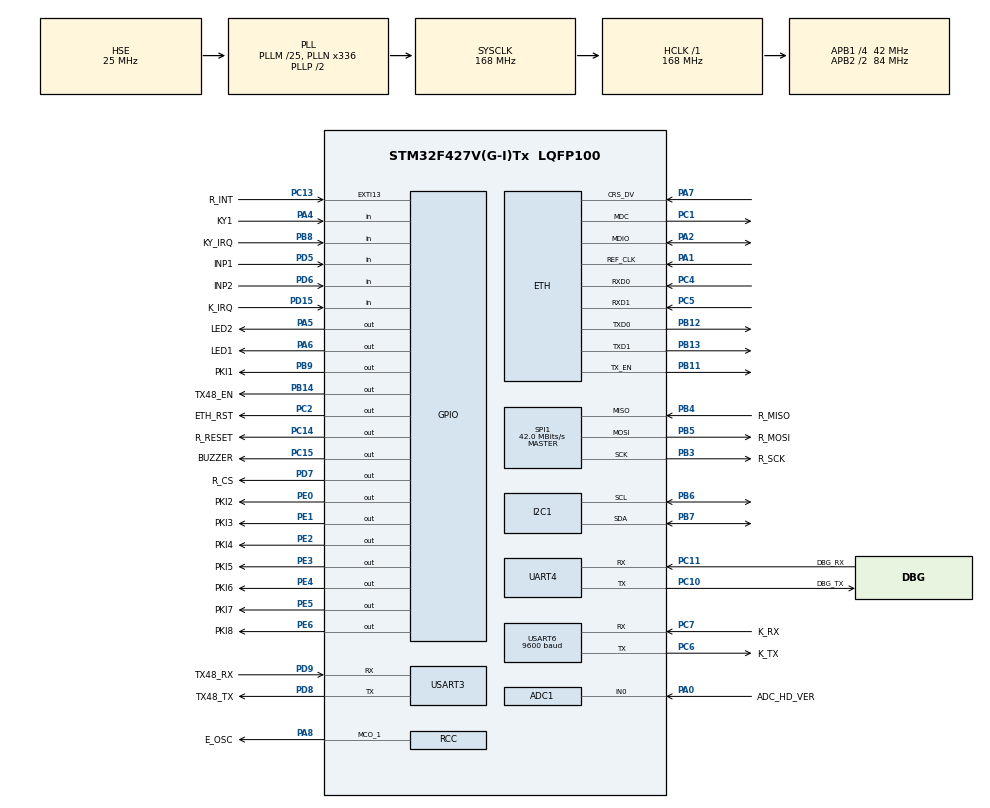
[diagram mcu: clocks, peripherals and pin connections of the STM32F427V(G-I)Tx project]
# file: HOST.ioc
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ADC1.Channel-0\#ChannelRegularConversion=ADC_CHANNEL_0
ADC1.NbrOfConversionFlag=1
ADC1.Rank-0\#ChannelRegularConversion=1
ADC1.SamplingTime-0\#ChannelRegularConversion=ADC_SAMPLETIME_3CYCLES
ADC1.master=1
ETH.MACAddr=00\:80\:E1\:00\:12\:34
ETH.MediaInterface=ETH_MEDIA_INTERFACE_RMII
ETH.PhyAddress=0
FREERTOS.Tasks01=defaultTask,0,128,StartDefaultTask,Default,NULL,Dynamic,NULL,NULL
FREERTOS.configTOTAL_HEAP_SIZE=49152
FREERTOS.configUSE_NEWLIB_REENTRANT=1
FREERTOS.configUSE_STATS_FORMATTING_FUNCTIONS=1
FREERTOS.configUSE_TIMERS=1
FREERTOS.configUSE_TRACE_FACILITY=1
LWIP.DEFAULT_RAW_RECVMBOX_SIZE=6
LWIP.LWIP_DNS=1
LWIP.LWIP_NETIF_STATUS_CALLBACK=1
LWIP.LWIP_RAW=1
LWIP.LWIP_SO_RCVTIMEO=1
LWIP.MEMP_NUM_TCP_PCB=5
LWIP.MEM_SIZE=8192
LWIP.Version=v2.1.2_Cube
Mcu.Family=STM32F4
Mcu.Name=STM32F427V(G-I)Tx
Mcu.Package=LQFP100
NVIC.ETH_IRQn=true\:6\:0\:true\:false\:true\:false\:false\:true
NVIC.PriorityGroup=NVIC_PRIORITYGROUP_4
NVIC.TIM1_UP_TIM10_IRQn=true\:0\:0\:false\:false\:true\:false\:false\:true
NVIC.TimeBase=TIM1_UP_TIM10_IRQn
NVIC.TimeBaseIP=TIM1
PA0/WKUP.GPIO_Label=ADC_HD_VER
PA0/WKUP.Signal=ADCx_IN0
PA1.Mode=RMII
PA1.Signal=ETH_REF_CLK
PA13.Mode=Serial_Wire
PA13.Signal=SYS_JTMS-SWDIO
PA14.Mode=Serial_Wire
PA14.Signal=SYS_JTCK-SWCLK
PA2.GPIO_PuPd=GPIO_PULLUP
PA2.Mode=RMII
PA2.Signal=ETH_MDIO
PA4.GPIO_Label=KY1
PA4.Signal=GPIO_Input
PA5.GPIO_Label=LED2
PA5.PinState=GPIO_PIN_SET
PA5.Signal=GPIO_Output
PA6.GPIO_Label=LED1
PA6.PinState=GPIO_PIN_SET
PA6.Signal=GPIO_Output
PA7.Mode=RMII
PA7.Signal=ETH_CRS_DV
PA8.GPIO_Label=E_OSC
PA8.Mode=Clock-out-1
PA8.Signal=RCC_MCO_1
PB11.Mode=RMII
PB11.Signal=ETH_TX_EN
PB12.Mode=RMII
PB12.Signal=ETH_TXD0
PB13.Mode=RMII
PB13.Signal=ETH_TXD1
PB14.GPIO_Label=TX48_EN
PB14.Signal=GPIO_Output
PB3.GPIO_Label=R_SCK
PB3.Mode=Full_Duplex_Master
PB3.Signal=SPI1_SCK
PB4.GPIO_Label=R_MISO
PB4.Mode=Full_Duplex_Master
PB4.Signal=SPI1_MISO
PB5.GPIO_Label=R_MOSI
PB5.Mode=Full_Duplex_Master
PB5.Signal=SPI1_MOSI
PB6.Mode=I2C
PB6.Signal=I2C1_SCL
PB7.Mode=I2C
PB7.Signal=I2C1_SDA
PB8.GPIO_Label=KY_IRQ
PB8.Signal=GPIO_Input
PB9.GPIO_Label=PKI1
PB9.Signal=GPIO_Output
PC1.Mode=RMII
PC1.Signal=ETH_MDC
PC10.GPIO_Label=DBG_TX
PC10.Mode=Asynchronous
PC10.Signal=UART4_TX
PC11.GPIO_Label=DBG_RX
PC11.Mode=Asynchronous
PC11.Signal=UART4_RX
PC13.GPIO_Label=R_INT
PC13.GPIO_PuPd=GPIO_PULLUP
PC13.Signal=GPXTI13
PC14/OSC32_IN.GPIO_Label=R_RESET
PC14/OSC32_IN.Signal=GPIO_Output
PC15/OSC32_OUT.GPIO_Label=BUZZER
PC15/OSC32_OUT.Signal=GPIO_Output
PC2.GPIO_Label=ETH_RST
PC2.Signal=GPIO_Output
PC4.Mode=RMII
PC4.Signal=ETH_RXD0
PC5.Mode=RMII
PC5.Signal=ETH_RXD1
PC6.GPIO_Label=K_TX
PC6.Mode=Asynchronous
PC6.Signal=USART6_TX
PC7.GPIO_Label=K_RX
PC7.Mode=Asynchronous
PC7.Signal=USART6_RX
PD15.GPIO_Label=K_IRQ
PD15.Signal=GPIO_Input
PD5.GPIO_Label=INP1
PD5.GPIO_PuPd=GPIO_PULLUP
PD5.Signal=GPIO_Input
PD6.GPIO_Label=INP2
PD6.GPIO_PuPd=GPIO_PULLUP
PD6.Signal=GPIO_Input
PD7.GPIO_Label=R_CS
PD7.Signal=GPIO_Output
PD8.GPIO_Label=TX48_TX
PD8.Mode=Asynchronous
PD8.Signal=USART3_TX
PD9.GPIO_Label=TX48_RX
PD9.Mode=Asynchronous
PD9.Signal=USART3_RX
PE0.GPIO_Label=PKI2
PE0.Signal=GPIO_Output
PE1.GPIO_Label=PKI3
PE1.Signal=GPIO_Output
PE2.GPIO_Label=PKI4
PE2.Signal=GPIO_Output
PE3.GPIO_Label=PKI5
PE3.Signal=GPIO_Output
PE4.GPIO_Label=PKI6
PE4.Signal=GPIO_Output
PE5.GPIO_Label=PKI7
PE5.Signal=GPIO_Output
PE6.GPIO_Label=PKI8
PE6.Signal=GPIO_Output
PH0/OSC_IN.Mode=HSE-External-Clock-Source
PH0/OSC_IN.Signal=RCC_OSC_IN
PH1/OSC_OUT.Mode=HSE-External-Clock-Source
PH1/OSC_OUT.Signal=RCC_OSC_OUT
ProjectManager.HeapSize=0x200
ProjectManager.StackSize=0x400
ProjectManager.TargetToolchain=STM32CubeIDE
RCC.48MHZClocksFreq_Value=48000000
RCC.AHBFreq_Value=168000000
RCC.APB1CLKDivider=RCC_HCLK_DIV4
RCC.APB1Freq_Value=42000000
RCC.APB1TimFreq_Value=84000000
RCC.APB2CLKDivider=RCC_HCLK_DIV2
RCC.APB2Freq_Value=84000000
RCC.APB2TimFreq_Value=168000000
RCC.CortexFreq_Value=168000000
RCC.HCLKFreq_Value=168000000
RCC.HSE_VALUE=25000000
RCC.HSI_VALUE=16000000
RCC.LSE_VALUE=32768
RCC.PLLM=25
RCC.PLLN=336
RCC.PLLQ=7
RCC.PLLSourceVirtual=RCC_PLLSOURCE_HSE
RCC.RCC_MCO1Source=RCC_MCO1SOURCE_HSE
RCC.SYSCLKFreq_VALUE=168000000
RCC.SYSCLKSource=RCC_SYSCLKSOURCE_PLLCLK
RCC.VCOOutputFreq_Value=336000000
SH.ADCx_IN0.0=ADC1_IN0,IN0
SPI1.BaudRatePrescaler=SPI_BAUDRATEPRESCALER_2
SPI1.CalculateBaudRate=42.0 MBits/s
SPI1.Direction=SPI_DIRECTION_2LINES
SPI1.Mode=SPI_MODE_MASTER
SPI1.VirtualType=VM_MASTER
UART4.VirtualMode=Asynchronous
USART3.VirtualMode=VM_ASYNC
USART6.BaudRate=9600
USART6.Parity=PARITY_ODD
USART6.VirtualMode=VM_ASYNC
USART6.WordLength=WORDLENGTH_9B
VP_FREERTOS_VS_CMSIS_V1.Mode=CMSIS_V1
VP_LWIP_VS_Enabled.Mode=Enabled
VP_RNG_VS_RNG.Mode=RNG_Activate
VP_SYS_VS_tim1.Mode=TIM1
board=custom

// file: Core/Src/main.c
/* USER CODE BEGIN Header */
/**
  ******************************************************************************
  * @file           : main.c
  * @brief          : Main program body
  ******************************************************************************
  * @attention
  *
  * <h2><center>&copy; Copyright (c) 2021 STMicroelectronics.
  * All rights reserved.</center></h2>
  *
  * This software component is licensed by ST under BSD 3-Clause license,
  * the "License"; You may not use this file except in compliance with the
  * License. You may obtain a copy of the License at:
  *                        opensource.org/licenses/BSD-3-Clause
  *
  ******************************************************************************
  */
/* USER CODE END Header */
#include "main.h"
#include "cmsis_os.h"
#include "lwip.h"

ADC_HandleTypeDef hadc1;

I2C_HandleTypeDef hi2c1;

RNG_HandleTypeDef hrng;

SPI_HandleTypeDef hspi1;

UART_HandleTypeDef huart4;
UART_HandleTypeDef huart3;
UART_HandleTypeDef huart6;

osThreadId defaultTaskHandle;
/* USER CODE BEGIN PV */
extern void  uMainCont(void);

/* USER CODE END PV */

void SystemClock_Config(void);
static void MX_GPIO_Init(void);
static void MX_ADC1_Init(void);
static void MX_USART3_UART_Init(void);
static void MX_I2C1_Init(void);
static void MX_SPI1_Init(void);
static void MX_UART4_Init(void);
static void MX_USART6_UART_Init(void);
static void MX_RNG_Init(void);
void StartDefaultTask(void const * argument);

/* USER CODE BEGIN 0 */
void callResCubeMX() {
	MX_GPIO_Init();
	MX_ADC1_Init();
	MX_USART3_UART_Init();
	//MX_I2C1_Init();
	MX_SPI1_Init();
	//MX_UART4_Init();
	MX_USART6_UART_Init();

}
/* USER CODE END 0 */

int main(void)
{

  /* MCU Configuration--------------------------------------------------------*/

  /* Reset of all peripherals, Initializes the Flash interface and the Systick. */
  HAL_Init();

  /* Configure the system clock */
  SystemClock_Config();

  /* USER CODE BEGIN SysInit */
  //------------------------------------------------------------------------------
  // przeskok do uMain
  //------------------------------------------------------------------------------

  uMainCont();
  /* USER CODE END SysInit */

  /* Initialize all configured peripherals */
  MX_GPIO_Init();
  MX_ADC1_Init();
  MX_USART3_UART_Init();
  MX_I2C1_Init();
  MX_SPI1_Init();
  MX_UART4_Init();
  MX_USART6_UART_Init();
  MX_RNG_Init();

  /* Create the thread(s) */
  /* definition and creation of defaultTask */
  osThreadDef(defaultTask, StartDefaultTask, osPriorityNormal, 0, 128);
  defaultTaskHandle = osThreadCreate(osThread(defaultTask), NULL);

  /* Start scheduler */
  osKernelStart();

  /* We should never get here as control is now taken by the scheduler */
  /* Infinite loop */
  while (1)
  {

  }
}

void SystemClock_Config(void)
{
  RCC_OscInitTypeDef RCC_OscInitStruct = {0};
  RCC_ClkInitTypeDef RCC_ClkInitStruct = {0};

  /** Configure the main internal regulator output voltage
  */
  __HAL_RCC_PWR_CLK_ENABLE();
  __HAL_PWR_VOLTAGESCALING_CONFIG(PWR_REGULATOR_VOLTAGE_SCALE1);
  /** Initializes the RCC Oscillators according to the specified parameters
  * in the RCC_OscInitTypeDef structure.
  */
  RCC_OscInitStruct.OscillatorType = RCC_OSCILLATORTYPE_HSE;
  RCC_OscInitStruct.HSEState = RCC_HSE_BYPASS;
  RCC_OscInitStruct.PLL.PLLState = RCC_PLL_ON;
  RCC_OscInitStruct.PLL.PLLSource = RCC_PLLSOURCE_HSE;
  RCC_OscInitStruct.PLL.PLLM = 25;
  RCC_OscInitStruct.PLL.PLLN = 336;
  RCC_OscInitStruct.PLL.PLLP = RCC_PLLP_DIV2;
  RCC_OscInitStruct.PLL.PLLQ = 7;
  if (HAL_RCC_OscConfig(&RCC_OscInitStruct) != HAL_OK)
  {
    Error_Handler();
  }
  /** Initializes the CPU, AHB and APB buses clocks
  */
  RCC_ClkInitStruct.ClockType = RCC_CLOCKTYPE_HCLK|RCC_CLOCKTYPE_SYSCLK
                              |RCC_CLOCKTYPE_PCLK1|RCC_CLOCKTYPE_PCLK2;
  RCC_ClkInitStruct.SYSCLKSource = RCC_SYSCLKSOURCE_PLLCLK;
  RCC_ClkInitStruct.AHBCLKDivider = RCC_SYSCLK_DIV1;
  RCC_ClkInitStruct.APB1CLKDivider = RCC_HCLK_DIV4;
  RCC_ClkInitStruct.APB2CLKDivider = RCC_HCLK_DIV2;

  if (HAL_RCC_ClockConfig(&RCC_ClkInitStruct, FLASH_LATENCY_5) != HAL_OK)
  {
    Error_Handler();
  }
  HAL_RCC_MCOConfig(RCC_MCO1, RCC_MCO1SOURCE_HSE, RCC_MCODIV_1);
}

static void MX_ADC1_Init(void)
{

  ADC_ChannelConfTypeDef sConfig = {0};

  /** Configure the global features of the ADC (Clock, Resolution, Data Alignment and number of conversion)
  */
  hadc1.Instance = ADC1;
  hadc1.Init.ClockPrescaler = ADC_CLOCK_SYNC_PCLK_DIV4;
  hadc1.Init.Resolution = ADC_RESOLUTION_12B;
  hadc1.Init.ScanConvMode = DISABLE;
  hadc1.Init.ContinuousConvMode = DISABLE;
  hadc1.Init.DiscontinuousConvMode = DISABLE;
  hadc1.Init.ExternalTrigConvEdge = ADC_EXTERNALTRIGCONVEDGE_NONE;
  hadc1.Init.ExternalTrigConv = ADC_SOFTWARE_START;
  hadc1.Init.DataAlign = ADC_DATAALIGN_RIGHT;
  hadc1.Init.NbrOfConversion = 1;
  hadc1.Init.DMAContinuousRequests = DISABLE;
  hadc1.Init.EOCSelection = ADC_EOC_SINGLE_CONV;
  if (HAL_ADC_Init(&hadc1) != HAL_OK)
  {
    Error_Handler();
  }
  /** Configure for the selected ADC regular channel its corresponding rank in the sequencer and its sample time.
  */
  sConfig.Channel = ADC_CHANNEL_0;
  sConfig.Rank = 1;
  sConfig.SamplingTime = ADC_SAMPLETIME_3CYCLES;
  if (HAL_ADC_ConfigChannel(&hadc1, &sConfig) != HAL_OK)
  {
    Error_Handler();
  }

}

static void MX_I2C1_Init(void)
{

  hi2c1.Instance = I2C1;
  hi2c1.Init.ClockSpeed = 100000;
  hi2c1.Init.DutyCycle = I2C_DUTYCYCLE_2;
  hi2c1.Init.OwnAddress1 = 0;
  hi2c1.Init.AddressingMode = I2C_ADDRESSINGMODE_7BIT;
  hi2c1.Init.DualAddressMode = I2C_DUALADDRESS_DISABLE;
  hi2c1.Init.OwnAddress2 = 0;
  hi2c1.Init.GeneralCallMode = I2C_GENERALCALL_DISABLE;
  hi2c1.Init.NoStretchMode = I2C_NOSTRETCH_DISABLE;
  if (HAL_I2C_Init(&hi2c1) != HAL_OK)
  {
    Error_Handler();
  }
  /** Configure Analogue filter
  */
  if (HAL_I2CEx_ConfigAnalogFilter(&hi2c1, I2C_ANALOGFILTER_ENABLE) != HAL_OK)
  {
    Error_Handler();
  }
  /** Configure Digital filter
  */
  if (HAL_I2CEx_ConfigDigitalFilter(&hi2c1, 0) != HAL_OK)
  {
    Error_Handler();
  }

}

static void MX_RNG_Init(void)
{

  hrng.Instance = RNG;
  if (HAL_RNG_Init(&hrng) != HAL_OK)
  {
    Error_Handler();
  }

}

static void MX_SPI1_Init(void)
{

  /* SPI1 parameter configuration*/
  hspi1.Instance = SPI1;
  hspi1.Init.Mode = SPI_MODE_MASTER;
  hspi1.Init.Direction = SPI_DIRECTION_2LINES;
  hspi1.Init.DataSize = SPI_DATASIZE_8BIT;
  hspi1.Init.CLKPolarity = SPI_POLARITY_LOW;
  hspi1.Init.CLKPhase = SPI_PHASE_1EDGE;
  hspi1.Init.NSS = SPI_NSS_SOFT;
  hspi1.Init.BaudRatePrescaler = SPI_BAUDRATEPRESCALER_2;
  hspi1.Init.FirstBit = SPI_FIRSTBIT_MSB;
  hspi1.Init.TIMode = SPI_TIMODE_DISABLE;
  hspi1.Init.CRCCalculation = SPI_CRCCALCULATION_DISABLE;
  hspi1.Init.CRCPolynomial = 10;
  if (HAL_SPI_Init(&hspi1) != HAL_OK)
  {
    Error_Handler();
  }

}

static void MX_UART4_Init(void)
{

  huart4.Instance = UART4;
  huart4.Init.BaudRate = 115200;
  huart4.Init.WordLength = UART_WORDLENGTH_8B;
  huart4.Init.StopBits = UART_STOPBITS_1;
  huart4.Init.Parity = UART_PARITY_NONE;
  huart4.Init.Mode = UART_MODE_TX_RX;
  huart4.Init.HwFlowCtl = UART_HWCONTROL_NONE;
  huart4.Init.OverSampling = UART_OVERSAMPLING_16;
  if (HAL_UART_Init(&huart4) != HAL_OK)
  {
    Error_Handler();
  }

}

static void MX_USART3_UART_Init(void)
{

  huart3.Instance = USART3;
  huart3.Init.BaudRate = 115200;
  huart3.Init.WordLength = UART_WORDLENGTH_8B;
  huart3.Init.StopBits = UART_STOPBITS_1;
  huart3.Init.Parity = UART_PARITY_NONE;
  huart3.Init.Mode = UART_MODE_TX_RX;
  huart3.Init.HwFlowCtl = UART_HWCONTROL_NONE;
  huart3.Init.OverSampling = UART_OVERSAMPLING_16;
  if (HAL_UART_Init(&huart3) != HAL_OK)
  {
    Error_Handler();
  }

}

static void MX_USART6_UART_Init(void)
{

  huart6.Instance = USART6;
  huart6.Init.BaudRate = 9600;
  huart6.Init.WordLength = UART_WORDLENGTH_9B;
  huart6.Init.StopBits = UART_STOPBITS_1;
  huart6.Init.Parity = UART_PARITY_ODD;
  huart6.Init.Mode = UART_MODE_TX_RX;
  huart6.Init.HwFlowCtl = UART_HWCONTROL_NONE;
  huart6.Init.OverSampling = UART_OVERSAMPLING_16;
  if (HAL_UART_Init(&huart6) != HAL_OK)
  {
    Error_Handler();
  }

}

static void MX_GPIO_Init(void)
{
  GPIO_InitTypeDef GPIO_InitStruct = {0};

  /* GPIO Ports Clock Enable */
  __HAL_RCC_GPIOE_CLK_ENABLE();
  __HAL_RCC_GPIOC_CLK_ENABLE();
  __HAL_RCC_GPIOH_CLK_ENABLE();
  __HAL_RCC_GPIOA_CLK_ENABLE();
  __HAL_RCC_GPIOB_CLK_ENABLE();
  __HAL_RCC_GPIOD_CLK_ENABLE();

  /*Configure GPIO pin Output Level */
  HAL_GPIO_WritePin(GPIOE, PKI4_Pin|PKI5_Pin|PKI6_Pin|PKI7_Pin
                          |PKI8_Pin|PKI2_Pin|PKI3_Pin, GPIO_PIN_RESET);

  /*Configure GPIO pin Output Level */
  HAL_GPIO_WritePin(GPIOC, R_RESET_Pin|BUZZER_Pin|ETH_RST_Pin, GPIO_PIN_RESET);

  /*Configure GPIO pin Output Level */
  HAL_GPIO_WritePin(GPIOA, LED2_Pin|LED1_Pin, GPIO_PIN_SET);

  /*Configure GPIO pin Output Level */
  HAL_GPIO_WritePin(GPIOB, TX48_EN_Pin|PKI1_Pin, GPIO_PIN_RESET);

  /*Configure GPIO pin Output Level */
  HAL_GPIO_WritePin(R_CS_GPIO_Port, R_CS_Pin, GPIO_PIN_RESET);

  /*Configure GPIO pins : PKI4_Pin PKI5_Pin PKI6_Pin PKI7_Pin
                           PKI8_Pin PKI2_Pin PKI3_Pin */
  GPIO_InitStruct.Pin = PKI4_Pin|PKI5_Pin|PKI6_Pin|PKI7_Pin
                          |PKI8_Pin|PKI2_Pin|PKI3_Pin;
  GPIO_InitStruct.Mode = GPIO_MODE_OUTPUT_PP;
  GPIO_InitStruct.Pull = GPIO_NOPULL;
  GPIO_InitStruct.Speed = GPIO_SPEED_FREQ_LOW;
  HAL_GPIO_Init(GPIOE, &GPIO_InitStruct);

  /*Configure GPIO pin : R_INT_Pin */
  GPIO_InitStruct.Pin = R_INT_Pin;
  GPIO_InitStruct.Mode = GPIO_MODE_IT_RISING;
  GPIO_InitStruct.Pull = GPIO_PULLUP;
  HAL_GPIO_Init(R_INT_GPIO_Port, &GPIO_InitStruct);

  /*Configure GPIO pins : R_RESET_Pin BUZZER_Pin ETH_RST_Pin */
  GPIO_InitStruct.Pin = R_RESET_Pin|BUZZER_Pin|ETH_RST_Pin;
  GPIO_InitStruct.Mode = GPIO_MODE_OUTPUT_PP;
  GPIO_InitStruct.Pull = GPIO_NOPULL;
  GPIO_InitStruct.Speed = GPIO_SPEED_FREQ_LOW;
  HAL_GPIO_Init(GPIOC, &GPIO_InitStruct);

  /*Configure GPIO pin : KY1_Pin */
  GPIO_InitStruct.Pin = KY1_Pin;
  GPIO_InitStruct.Mode = GPIO_MODE_INPUT;
  GPIO_InitStruct.Pull = GPIO_NOPULL;
  HAL_GPIO_Init(KY1_GPIO_Port, &GPIO_InitStruct);

  /*Configure GPIO pins : LED2_Pin LED1_Pin */
  GPIO_InitStruct.Pin = LED2_Pin|LED1_Pin;
  GPIO_InitStruct.Mode = GPIO_MODE_OUTPUT_PP;
  GPIO_InitStruct.Pull = GPIO_NOPULL;
  GPIO_InitStruct.Speed = GPIO_SPEED_FREQ_LOW;
  HAL_GPIO_Init(GPIOA, &GPIO_InitStruct);

  /*Configure GPIO pins : TX48_EN_Pin PKI1_Pin */
  GPIO_InitStruct.Pin = TX48_EN_Pin|PKI1_Pin;
  GPIO_InitStruct.Mode = GPIO_MODE_OUTPUT_PP;
  GPIO_InitStruct.Pull = GPIO_NOPULL;
  GPIO_InitStruct.Speed = GPIO_SPEED_FREQ_LOW;
  HAL_GPIO_Init(GPIOB, &GPIO_InitStruct);

  /*Configure GPIO pin : K_IRQ_Pin */
  GPIO_InitStruct.Pin = K_IRQ_Pin;
  GPIO_InitStruct.Mode = GPIO_MODE_INPUT;
  GPIO_InitStruct.Pull = GPIO_NOPULL;
  HAL_GPIO_Init(K_IRQ_GPIO_Port, &GPIO_InitStruct);

  /*Configure GPIO pin : E_OSC_Pin */
  GPIO_InitStruct.Pin = E_OSC_Pin;
  GPIO_InitStruct.Mode = GPIO_MODE_AF_PP;
  GPIO_InitStruct.Pull = GPIO_NOPULL;
  GPIO_InitStruct.Speed = GPIO_SPEED_FREQ_LOW;
  GPIO_InitStruct.Alternate = GPIO_AF0_MCO;
  HAL_GPIO_Init(E_OSC_GPIO_Port, &GPIO_InitStruct);

  /*Configure GPIO pins : INP1_Pin INP2_Pin */
  GPIO_InitStruct.Pin = INP1_Pin|INP2_Pin;
  GPIO_InitStruct.Mode = GPIO_MODE_INPUT;
  GPIO_InitStruct.Pull = GPIO_PULLUP;
  HAL_GPIO_Init(GPIOD, &GPIO_InitStruct);

  /*Configure GPIO pin : R_CS_Pin */
  GPIO_InitStruct.Pin = R_CS_Pin;
  GPIO_InitStruct.Mode = GPIO_MODE_OUTPUT_PP;
  GPIO_InitStruct.Pull = GPIO_NOPULL;
  GPIO_InitStruct.Speed = GPIO_SPEED_FREQ_LOW;
  HAL_GPIO_Init(R_CS_GPIO_Port, &GPIO_InitStruct);

  /*Configure GPIO pin : KY_IRQ_Pin */
  GPIO_InitStruct.Pin = KY_IRQ_Pin;
  GPIO_InitStruct.Mode = GPIO_MODE_INPUT;
  GPIO_InitStruct.Pull = GPIO_NOPULL;
  HAL_GPIO_Init(KY_IRQ_GPIO_Port, &GPIO_InitStruct);

}

/* USER CODE BEGIN 4 */

static void setLed1(uint8_t q) {
	if (q)
		HAL_GPIO_WritePin(LED1_GPIO_Port, LED1_Pin, GPIO_PIN_RESET);
	else
		HAL_GPIO_WritePin(LED1_GPIO_Port, LED1_Pin, GPIO_PIN_SET);
}
static void setLed2(uint8_t q) {
	if (q)
		HAL_GPIO_WritePin(LED2_GPIO_Port, LED2_Pin, GPIO_PIN_RESET);
	else
		HAL_GPIO_WritePin(LED2_GPIO_Port, LED2_Pin, GPIO_PIN_SET);
}

/* USER CODE END 4 */

void StartDefaultTask(void const * argument)
{
  /* init code for LWIP */
  MX_LWIP_Init();
  /* USER CODE BEGIN 5 */
  /* Infinite loop */
  for(;;)
  {
    osDelay(250);
    setLed1(1);
    setLed2(1);
    osDelay(250);
    setLed1(0);
    setLed2(0);
  }
  /* USER CODE END 5 */
}

void HAL_TIM_PeriodElapsedCallback(TIM_HandleTypeDef *htim)
{
  if (htim->Instance == TIM1) {
    HAL_IncTick();
  }
}

void Error_Handler(void)
{
}

/************************ (C) COPYRIGHT STMicroelectronics *****END OF FILE****/
